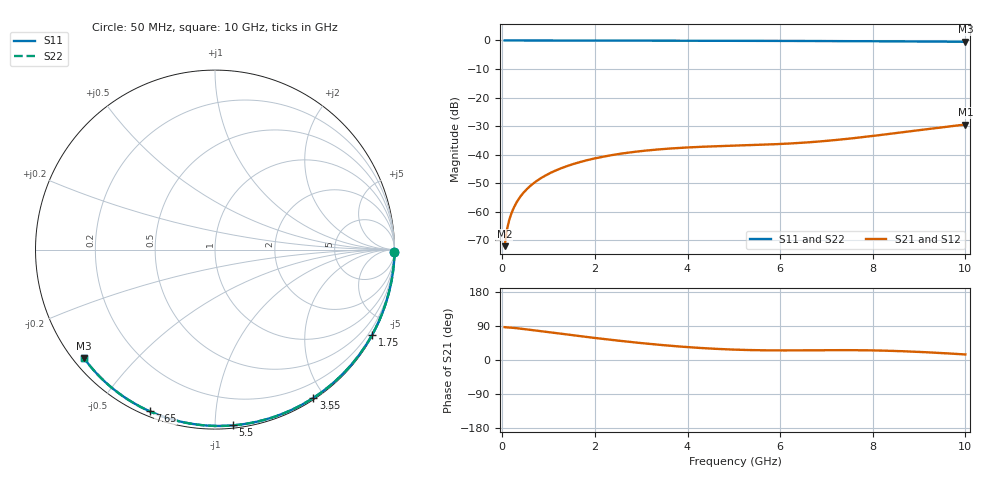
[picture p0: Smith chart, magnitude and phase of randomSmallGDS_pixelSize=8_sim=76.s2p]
! freq	dB(S11)	phase(S11)	dB(S12)	phase(S12)
!  dB(S21)	phase(S21)	dB(S22)	phase(S22)
!S-par simulation data
#  GHz  S  DB  R 50
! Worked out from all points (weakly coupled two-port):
!   200 points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, 50 MHz to 10 GHz, reference 50 ohm
!   highest |S21| = -29.44 dB at 10 GHz (marker M1); lowest = -72.1 dB at 50 MHz (marker M2)
!   lowest |S11| = -0.5 dB at 10 GHz (marker M3), VSWR 37.35, Z = 1.51 - j18 ohm
!   |S11| at or under -10 dB: nowhere
!   |S22| runs from -0.5 to 0.0 dB; largest |S21 - S12| = 0
!   S11 on the Smith chart (normalised r, x): 50 MHz: open; 1.75 GHz: 0.03, -3.93; 3.55 GHz: 0.02, -1.86; 5.5 GHz: 0.02, -1.11; 7.65 GHz: 0.02, -0.67; 10 GHz: 0.03, -0.36
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0.05  -0.00 -0.8  -72.05 86.7  -72.05 86.7  -0.00 -0.8
0.1  -0.00 -1.7  -66.29 86.0  -66.29 86.0  -0.00 -1.7
0.15  -0.00 -2.5  -62.88 85.7  -62.88 85.7  -0.00 -2.5
0.2  -0.00 -3.3  -60.43 85.2  -60.43 85.2  -0.00 -3.3
0.25  -0.00 -4.2  -58.52 84.7  -58.52 84.7  -0.00 -4.2
0.35  -0.00 -5.8  -55.63 83.3  -55.63 83.3  -0.00 -5.8
0.5  -0.01 -8.3  -52.58 81.2  -52.58 81.2  -0.01 -8.3
0.7  -0.01 -11.6  -49.71 78.1  -49.71 78.1  -0.01 -11.6
1  -0.02 -16.5  -46.72 73.4  -46.72 73.4  -0.02 -16.5
1.35  -0.03 -22.1  -44.28 68.0  -44.28 68.0  -0.03 -22.1
1.75  -0.04 -28.6  -42.28 61.9  -42.28 61.9  -0.04 -28.6
2.5  -0.05 -40.4  -39.81 51.1  -39.81 51.1  -0.05 -40.4
3.4  -0.07 -54.2  -38.13 40.0  -38.13 40.0  -0.07 -54.2
3.55  -0.08 -56.4  -37.94 38.4  -37.94 38.4  -0.08 -56.4
4.3  -0.10 -67.4  -37.25 31.6  -37.25 31.6  -0.10 -67.4
5.05  -0.12 -78.0  -36.82 27.2  -36.82 27.2  -0.12 -78.0
5.5  -0.14 -84.2  -36.58 25.8  -36.58 25.8  -0.14 -84.2
6.7  -0.19 -100.0  -35.57 25.6  -35.57 25.6  -0.19 -100.0
7.65  -0.25 -112.0  -34.11 25.9  -34.11 25.9  -0.25 -112.0
8.35  -0.30 -120.6  -32.75 24.3  -32.75 24.3  -0.30 -120.6
9.2  -0.38 -130.9  -31.02 20.2  -31.02 20.2  -0.38 -130.9
10  -0.47 -140.4  -29.44 14.6  -29.44 14.6  -0.47 -140.4
